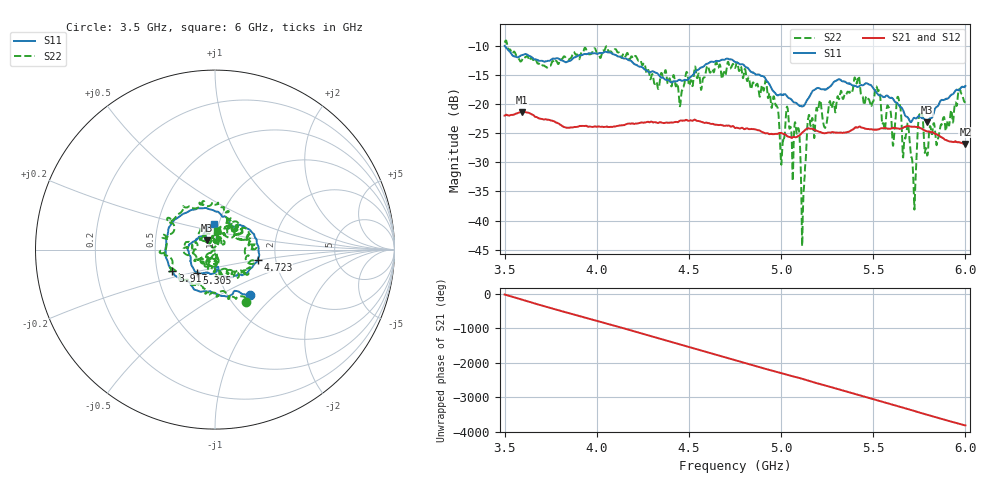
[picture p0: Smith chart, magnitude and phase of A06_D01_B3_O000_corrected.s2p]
! Created with skrf 1.9.0 (http://scikit-rf.org).
# Hz S RI R 50.0
!freq ReS11 ImS11 ReS21 ImS21 ReS12 ImS12 ReS22 ImS22
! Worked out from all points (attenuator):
!   1601 points, 3.5 GHz to 6 GHz, reference 50 ohm
!   highest |S21| = -21.30 dB at 3.592 GHz (marker M1); lowest = -26.8 dB at 6 GHz (marker M2)
!   lowest |S11| = -23.1 dB at 5.791 GHz (marker M3), VSWR 1.15, Z = 45.3 + j4.82 ohm
!   |S11| at or under -10 dB: 3.503 GHz to end of sweep
!   |S22| runs from -44.4 to -9.0 dB; largest |S21 - S12| = 0.0013
!   S11 on the Smith chart (normalised r, x): 3.5 GHz: 1.26, -0.71; 3.917 GHz: 0.60, -0.16; 4.723 GHz: 1.61, -0.19; 5.305 GHz: 0.79, -0.21; 6 GHz: 0.95, +0.28
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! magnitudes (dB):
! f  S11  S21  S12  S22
! 3.5 GHz  -9.9  -21.9  -21.9  -9.3
! 3.592 GHz  -11.5  -21.3  -21.3  -12.5
! 3.917 GHz  -11.5  -23.7  -23.7  -11.0
! 4.334 GHz  -14.8  -23.2  -23.1  -17.3
! 4.723 GHz  -12.2  -23.8  -23.7  -13.8
! 4.75 GHz  -12.7  -24.0  -24.0  -13.7
! 4.969 GHz  -18.1  -25.1  -25.1  -20.0
! 5.005 GHz  -18.3  -24.9  -25.0  -28.3
! 5.033 GHz  -18.6  -25.5  -25.4  -20.4
! 5.086 GHz  -19.8  -25.6  -25.6  -25.0
! 5.119 GHz  -20.3  -24.7  -24.7  -38.1
! 5.145 GHz  -19.1  -24.1  -24.1  -22.6
! 5.167 GHz  -17.9  -24.2  -24.2  -22.5
! 5.305 GHz  -15.8  -24.9  -24.8  -18.8
! 5.411 GHz  -16.9  -24.0  -24.0  -16.1
! 5.584 GHz  -18.7  -24.2  -24.2  -20.5
! 5.609 GHz  -19.1  -24.0  -24.0  -26.7
! 5.639 GHz  -20.1  -24.2  -24.2  -19.2
! 5.72 GHz  -22.3  -23.8  -23.8  -35.5
! 5.755 GHz  -22.1  -24.1  -24.0  -22.0
! 5.791 GHz  -23.1  -24.6  -24.6  -28.2
! 6 GHz  -16.8  -26.8  -26.8  -19.7
